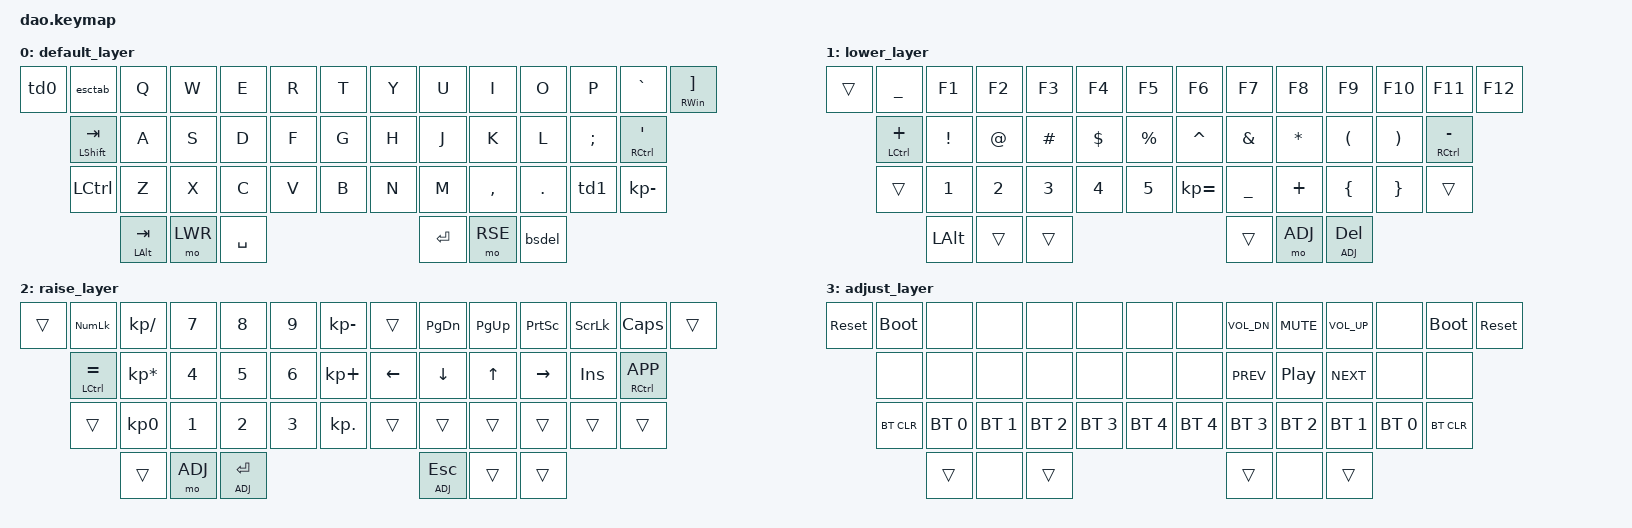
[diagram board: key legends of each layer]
/*
 * Copyright (c) 2021 Rafael Yumagulov
 *
 * SPDX-License-Identifier: MIT
 */

#include <behaviors.dtsi>
#include <dt-bindings/zmk/keys.h>
#include <dt-bindings/zmk/bt.h>

#define DEF 0
#define LWR 1
#define RSE 2
#define ADJ 3

&lt { quick_tap_ms = <100>; };
&mt { quick_tap_ms = <100>; };

/ {
      behaviors {
            td0: tap_dance_0 {
                compatible = "zmk,behavior-tap-dance";
                label = "TAP_DANCE_0";
                #binding-cells = <0>;
                tapping-term-ms = <200>;
                bindings = <&mt LWIN LBKT>, <&kp CAPS>;
            };
            td1: tap_dance_1 {
                compatible = "zmk,behavior-tap-dance";
                label = "TAP_DANCE_1";
                #binding-cells = <0>;
                tapping-term-ms = <200>;
                bindings = <&kp FSLH>, <&kp BSLH>;
            };
            bsdel: backspace_delete {
                compatible = "zmk,behavior-mod-morph";
                label = "BSPC_DEL";
                #binding-cells = <0>;
                bindings = <&kp BSPC>, <&kp DEL>;
                mods = <(MOD_LSFT)>;
            };
            esctab: escape_tab {
                compatible = "zmk,behavior-mod-morph";
                label = "ESC_TAB";
                #binding-cells = <0>;
                bindings = <&kp ESC>, <&kp TAB>;
                mods = <(MOD_LALT|MOD_LCTL)>;
                keep-mods = <(MOD_LALT|MOD_LCTL)>;
            };
        };

        keymap {
                compatible = "zmk,keymap";

// -----------------------------------------------------------------------------------------
// |  GUI/[ | TAB   |  Q  |  W  |  E  |  R  |  T  |   |  Y  |  U   |  I  |  O  |  P  |  ~       | GUI/] |
//          | SHFT  |  A  |  S  |  D  |  F  |  G  |   |  H  |  J   |  K  |  L  |  ;  |  CTRL/'  |
//          | CTRL  |  Z  |  X  |  C  |  V  |  B  |   |  N  |  M   |  ,  |  .  |  /  |  MINUS   |
//                              | RSE | LOW | LWR |   | LWR | RSE | RSE |

                default_layer { bindings = <

    &td0 &esctab        &kp Q &kp W &kp E &kp R &kp T &kp Y         &kp U   &kp I     &kp O   &kp P    &kp GRAVE      &mt RWIN RBKT
         &mt LSHFT TAB  &kp A &kp S &kp D &kp F &kp G &kp H         &kp J   &kp K     &kp L   &kp SEMI &mt RCTRL SQT
         &kp LCTRL      &kp Z &kp X &kp C &kp V &kp B &kp N         &kp M   &kp COMMA &kp DOT &td1     &kp KP_MINUS
         
                          &mt LALT TAB   &mo LWR     &kp SPACE     &kp RET &mo RSE   &bsdel

                        >; };

// -----------------------------------------------------------------------------------------
// |     |  _  |  F1 |  F2 |  F3 |  F4 |  F5 |   |  F6 |  F7 |  F8 |  F9 | F10 | F11 | F12 |
//       |  +  |  !  |  @  |  #  |  $  |  %  |   |  ^  |  &  |  *  |  (  |  )  | MINUS  |
//       |  =  |  1  |  2  |  3  |  4  |  5  |   |  6  |  7  |  8  |  9  |  0  |     |
//                    | GUI |     | SPC |   | ENT |     | ALT |

                lower_layer { bindings = <

   &trans &kp UNDER      &kp F1    &kp F2    &kp F3      &kp F4    &kp F5           &kp F6       &kp F7     &kp F8   &kp F9   &kp F10  &kp F11         &kp F12
          &mt LCTRL PLUS &kp EXCL  &kp AT    &kp HASH    &kp DLLR  &kp PRCNT        &kp CARET    &kp AMPS   &kp STAR &kp LPAR &kp RPAR &mt RCTRL MINUS
          &trans         &kp N1    &kp N2    &kp N3      &kp N4    &kp N5           &kp KP_EQUAL &kp UNDER  &kp PLUS &kp LBRC &kp RBRC &trans
                                             &kp LALT    &trans    &trans           &trans       &mo ADJ    &lt ADJ DEL

                        >; };

// -----------------------------------------------------------------------------------------
// |     | NMLK |  /  |  7  |  8  |  9  |  MINUS  |   | VOLU| HOME| PRSC| PGUP| SCLK| CLCK|     |
//       | CTRL |  *  |  4  |  5  |  6  |  PLUS  |   | MUT | LEFT|  UP | RGHT| INS | APP |
//       |      |  0  |  1  |  2  |  3  |  .  |   | VOLD| END | DOWN| PGDN| PAUS|     |
//                          |     |     | ADJ |   | ADJ |     |     |

                raise_layer { bindings = <
 
   &trans &kp KP_NUM      &kp KP_SLASH    &kp N7 &kp N8 &kp N9 &kp KP_MINUS        &trans       &kp PG_DN   &kp PG_UP &kp PSCRN    &kp SLCK &kp CAPS        &trans
          &mt LCTRL EQUAL &kp KP_MULTIPLY &kp N4 &kp N5 &kp N6 &kp KP_PLUS         &kp LEFT     &kp DOWN    &kp UP    &kp RIGHT &kp INS  &mt RCTRL K_APP
          &trans          &kp KP_N0       &kp N1 &kp N2 &kp N3 &kp KP_DOT          &trans       &trans      &trans    &trans    &trans   &trans
                                                    &trans    &mo ADJ   &lt ADJ RET         &lt ADJ ESC  &trans      &trans

                        >; };


// -----------------------------------------------------------------------------------------
// | RST | BLDR |     |     |     |     |     |   |     |     |     |     |     | BLDR | RST |
//       | BTCLR| BT0 | BT1 | BT2 | BT3 | BT4 |   | BT4 | BT3 | BT2 | BT1 | BT0 | BTCLR|
//       |      |     |     |     |     |     |   |     |     |     |     |     |      |
//                          |     |     |     |   |     |     |     |

                adjust_layer { bindings = <

   &sys_reset &bootloader  &none        &none        &none        &none        &none              &none        &kp C_VOL_DN    &kp C_MUTE        &kp C_VOL_UP &none         &bootloader &sys_reset
              &none        &none        &none        &none        &none        &none              &none        &kp C_PREV      &kp C_PP          &kp C_NEXT   &none         &none
              &bt BT_CLR   &bt BT_SEL 0 &bt BT_SEL 1 &bt BT_SEL 2 &bt BT_SEL 3 &bt BT_SEL 4       &bt BT_SEL 4 &bt BT_SEL 3    &bt BT_SEL 2      &bt BT_SEL 1 &bt BT_SEL 0  &bt BT_CLR
                                                                        &trans &none &trans   &trans &none &trans
                        >; };

        };
};
